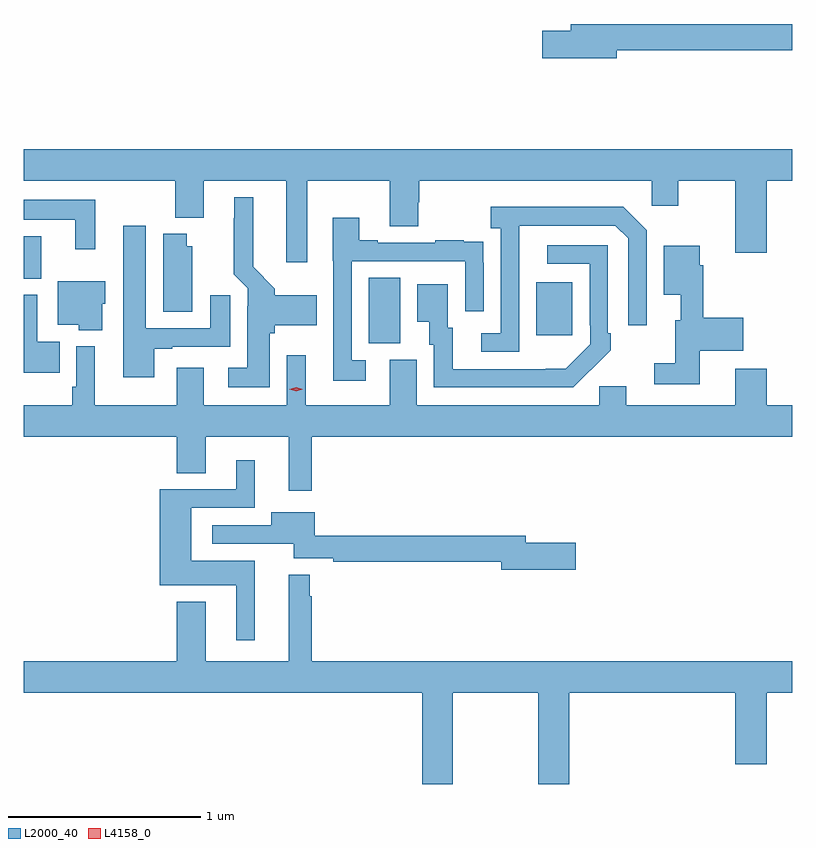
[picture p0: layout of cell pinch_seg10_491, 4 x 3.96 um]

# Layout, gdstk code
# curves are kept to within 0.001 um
import gdstk
lib = gdstk.Library(unit=1e-6, precision=1e-09)
def R(c, l, rs):  # rectangles x0, y0, x1, y1
    for r in rs: c.add(gdstk.rectangle(r[:2], r[2:], *l))
def P(c, l, *ps):  # polygons
    for p in ps: c.add(gdstk.Polygon(p, *l))
L2000_40 = (2000, 40)
L4158_0 = (4158, 0)

pinch_seg10_491 = lib.new_cell('pinch_seg10_491')
R(pinch_seg10_491, L2000_40, [(247.016,1254.181,247.18,1254.524), (247.889,1254.225,248.077,1254.499), (245.221,1254.519,245.311,1254.739)])
P(pinch_seg10_491, L2000_40, [(248.308,1255.708),(249.221,1255.708),(249.221,1255.844),(248.069,1255.844),(248.069,1255.808),(247.92,1255.808),(247.92,1255.666),(248.308,1255.666)],
  [(246.697,1255.028),(247.127,1255.028),(247.127,1254.79),(247.275,1254.79),(247.275,1254.915),(247.28,1254.915),(247.28,1255.028),(248.49,1255.028),(248.49,1254.897),(248.629,1254.897),(248.629,1255.028),(248.924,1255.028),(248.924,1254.654),(249.088,1254.654),(249.088,1255.028),(249.221,1255.028),(249.221,1255.192),(245.221,1255.192),(245.221,1255.028),(246.01,1255.028),(246.01,1254.836),(246.157,1254.836),(246.157,1255.028),(246.587,1255.028),(246.587,1254.603),(246.697,1254.603)],
  [(246.502,1254.234),(246.528,1254.234),(246.528,1254.275),(246.745,1254.275),(246.745,1254.433),(246.528,1254.433),(246.528,1254.467),(246.415,1254.58),(246.415,1254.943),(246.317,1254.943),(246.317,1254.833),(246.313,1254.833),(246.313,1254.542),(246.387,1254.468),(246.387,1254.374),(246.383,1254.374),(246.383,1254.055),(246.285,1254.055),(246.285,1253.954),(246.502,1253.954)],
  [(245.593,1254.928),(245.221,1254.928),(245.221,1254.824),(245.489,1254.824),(245.489,1254.672),(245.593,1254.672)],
  [(247.8,1254.595),(247.801,1254.795),(248.301,1254.795),(248.367,1254.729),(248.367,1254.276),(248.463,1254.276),(248.463,1254.771),(248.342,1254.892),(247.653,1254.892),(247.653,1254.782),(247.704,1254.782),(247.704,1254.234),(247.602,1254.234),(247.602,1254.138),(247.8,1254.138)],
  [(247,1254.093),(246.927,1254.093),(246.927,1254.609),(247.518,1254.609),(247.518,1254.348),(247.614,1254.348),(247.614,1254.602),(247.613,1254.602),(247.613,1254.711),(247.511,1254.711),(247.511,1254.718),(247.363,1254.718),(247.363,1254.705),(247.063,1254.705),(247.063,1254.718),(246.967,1254.718),(246.967,1254.835),(246.83,1254.835),(246.83,1254.612),(246.831,1254.612),(246.831,1253.988),(247,1253.988)],
  [(245.899,1254.153),(245.995,1254.153),(245.995,1254.165),(246.295,1254.165),(246.295,1254.433),(246.191,1254.433),(246.191,1254.261),(245.857,1254.261),(245.857,1254.793),(245.738,1254.793),(245.738,1254.006),(245.899,1254.006)],
  [(246.097,1254.687),(246.07,1254.687),(246.07,1254.751),(245.948,1254.751),(245.948,1254.346),(246.097,1254.346)],
  [(248.171,1254.043),(248.172,1254.042),(248.277,1254.147),(248.277,1254.235),(248.262,1254.235),(248.262,1254.693),(247.947,1254.693),(247.947,1254.597),(248.166,1254.597),(248.166,1254.277),(248.169,1254.277),(248.169,1254.177),(248.041,1254.049),(247.453,1254.048),(247.453,1254.264),(247.429,1254.264),(247.429,1254.49),(247.268,1254.49),(247.268,1254.293),(247.331,1254.293),(247.331,1254.174),(247.356,1254.174),(247.356,1253.952),(248.08,1253.952)],
  [(248.74,1254.143),(248.965,1254.143),(248.965,1254.314),(248.759,1254.314),(248.759,1254.587),(248.74,1254.587),(248.74,1254.691),(248.552,1254.691),(248.552,1254.434),(248.642,1254.434),(248.642,1254.301),(248.612,1254.301),(248.612,1254.079),(248.502,1254.079),(248.502,1253.97),(248.74,1253.97)],
  [(245.629,1254.387),(245.644,1254.387),(245.644,1254.505),(245.399,1254.505),(245.399,1254.278),(245.508,1254.278),(245.508,1254.251),(245.629,1254.251)],
  [(245.408,1254.19),(245.29,1254.19),(245.29,1254.434),(245.221,1254.434),(245.221,1254.029),(245.408,1254.029)],
  [(246.721,1253.696),(249.221,1253.696),(249.221,1253.86),(249.088,1253.86),(249.088,1254.049),(248.924,1254.049),(248.924,1253.86),(248.356,1253.86),(248.356,1253.958),(248.217,1253.958),(248.217,1253.86),(247.267,1253.86),(247.267,1254.096),(247.127,1254.096),(247.127,1253.86),(246.688,1253.86),(246.688,1254.121),(246.591,1254.121),(246.591,1253.86),(246.157,1253.86),(246.157,1254.055),(246.017,1254.055),(246.017,1253.86),(245.59,1253.86),(245.59,1254.166),(245.493,1254.166),(245.493,1253.956),(245.473,1253.956),(245.473,1253.86),(245.221,1253.86),(245.221,1253.696),(246.017,1253.696),(246.017,1253.506),(246.169,1253.506),(246.169,1253.696),(246.599,1253.696),(246.599,1253.415),(246.721,1253.415)],
  [(246.424,1253.05),(246.094,1253.05),(246.094,1253.325),(246.424,1253.325),(246.424,1253.572),(246.326,1253.572),(246.326,1253.421),(245.93,1253.421),(245.93,1252.922),(246.326,1252.922),(246.326,1252.635),(246.424,1252.635)],
  [(248.095,1253.144),(247.834,1253.144),(247.834,1253.18),(246.736,1253.18),(246.736,1253.302),(246.509,1253.302),(246.509,1253.235),(246.201,1253.235),(246.201,1253.139),(246.626,1253.139),(246.626,1253.064),(246.832,1253.064),(246.832,1253.044),(247.706,1253.044),(247.706,1253.002),(248.095,1253.002)],
  [(246.721,1252.865),(246.71,1252.865),(246.71,1252.978),(246.599,1252.978),(246.599,1252.528),(246.169,1252.528),(246.169,1252.837),(246.017,1252.837),(246.017,1252.528),(245.221,1252.528),(245.221,1252.364),(247.295,1252.364),(247.295,1251.888),(247.455,1251.888),(247.455,1252.364),(247.9,1252.364),(247.9,1251.888),(248.06,1251.888),(248.06,1252.364),(248.924,1252.364),(248.924,1251.99),(249.088,1251.99),(249.088,1252.364),(249.221,1252.364),(249.221,1252.528),(246.721,1252.528)])
P(pinch_seg10_491, L4158_0, [(246.639,1253.933),(246.604,1253.943),(246.604,1253.943),(246.604,1253.943),(246.639,1253.953),(246.673,1253.943),(246.674,1253.943),(246.673,1253.943)])

lib.write_gds('pinch_seg10_491.gds')
